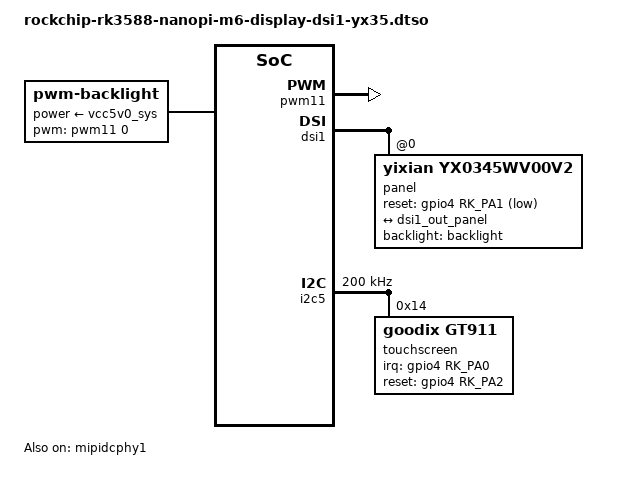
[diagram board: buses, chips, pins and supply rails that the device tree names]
/dts-v1/;
/plugin/;

#include <dt-bindings/pinctrl/rockchip.h>
#include <dt-bindings/gpio/gpio.h>
#include <dt-bindings/soc/rockchip,vop2.h>
#include <dt-bindings/interrupt-controller/irq.h>

&{/} {
	backlight: backlight {
		compatible = "pwm-backlight";
		power-supply = <&vcc5v0_sys>;
		pwms = <&pwm11 0 25000 0>;
	};
};

&pwm11 {
	pinctrl-names = "default";
	pinctrl-0 = <&pwm11m3_pins>;
	status = "okay";
};

&mipidcphy1 {
	status = "okay";
};

&dsi1 {
	#address-cells = <1>;
	#size-cells = <0>;
	status = "okay";

	panel@0 {
		compatible = "yixian,yx0345wv00v2";
		reg = <0>;
		backlight = <&backlight>;
		pinctrl-names = "default";
		pinctrl-0 = <&lcd_rst1_gpio>;
		reset-gpios = <&gpio4 RK_PA1 GPIO_ACTIVE_LOW>;

		port {
			mipi_panel_in: endpoint {
				remote-endpoint = <&dsi1_out_panel>;
			};
		};
	};
};

&dsi1_in {
	dsi1_in_vp2: endpoint {
		remote-endpoint = <&vp2_out_dsi1>;
	};
};

&dsi1_out {
	dsi1_out_panel: endpoint {
		remote-endpoint = <&mipi_panel_in>;
	};
};

&vp2 {
	#address-cells = <1>;
	#size-cells = <0>;

	vp2_out_dsi1: endpoint@ROCKCHIP_VOP2_EP_MIPI1 {
		reg = <ROCKCHIP_VOP2_EP_MIPI1>;
		remote-endpoint = <&dsi1_in_vp2>;
	};
};

&pinctrl {
	lcd {
		/omit-if-no-ref/
		lcd_rst1_gpio: lcd-rst1-gpio {
			rockchip,pins = <4 RK_PA1 RK_FUNC_GPIO &pcfg_pull_none>;
		};

		/omit-if-no-ref/
		touch_dsi1_gpio: touch-dsi1-gpio {
			rockchip,pins =
				<4 RK_PA0 RK_FUNC_GPIO &pcfg_pull_up>,
				<4 RK_PA2 RK_FUNC_GPIO &pcfg_pull_none>;
		};
	};
};

&i2c5 {
	clock-frequency = <200000>;
	pinctrl-0 = <&i2c5m2_xfer>;
	status = "okay";

	touchscreen@14 {
		compatible = "goodix,gt911";
		reg = <0x14>;
		interrupt-parent = <&gpio4>;
		interrupts = <RK_PA0 IRQ_TYPE_LEVEL_LOW>;
		irq-gpios = <&gpio4 RK_PA0 GPIO_ACTIVE_HIGH>;
		pinctrl-names = "default";
		pinctrl-0 = <&touch_dsi1_gpio>;
		reset-gpios = <&gpio4 RK_PA2 GPIO_ACTIVE_HIGH>;
	};
};
